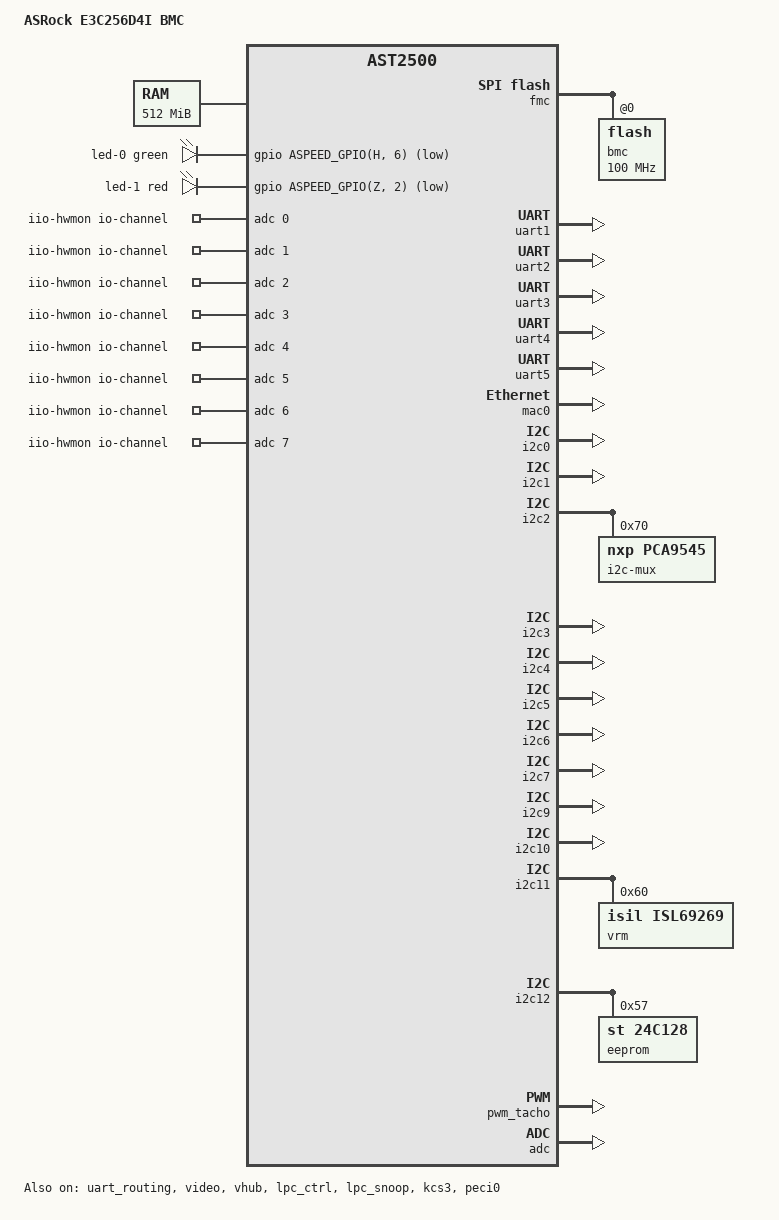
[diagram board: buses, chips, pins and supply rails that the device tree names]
// SPDX-License-Identifier: GPL-2.0+
/dts-v1/;

#include "aspeed-g5.dtsi"
#include <dt-bindings/gpio/aspeed-gpio.h>
#include <dt-bindings/i2c/i2c.h>
#include <dt-bindings/interrupt-controller/irq.h>
#include <dt-bindings/leds/common.h>
#include <dt-bindings/watchdog/aspeed-wdt.h>

/{
	model = "ASRock E3C256D4I BMC";
	compatible = "asrock,e3c256d4i-bmc", "aspeed,ast2500";

	aliases {
		serial4 = &uart5;

		i2c20 = &i2c2mux0ch0;
		i2c21 = &i2c2mux0ch1;
		i2c22 = &i2c2mux0ch2;
		i2c23 = &i2c2mux0ch3;
	};

	chosen {
		stdout-path = &uart5;
	};

	memory@80000000 {
		reg = <0x80000000 0x20000000>;
	};

	leds {
		compatible = "gpio-leds";

		/* BMC heartbeat */
		led-0 {
			gpios = <&gpio ASPEED_GPIO(H, 6) GPIO_ACTIVE_LOW>;
			function = LED_FUNCTION_HEARTBEAT;
			color = <LED_COLOR_ID_GREEN>;
			linux,default-trigger = "timer";
		};

		/* system fault */
		led-1 {
			gpios = <&gpio ASPEED_GPIO(Z, 2) GPIO_ACTIVE_LOW>;
			function = LED_FUNCTION_FAULT;
			color = <LED_COLOR_ID_RED>;
			panic-indicator;
		};
	};

	iio-hwmon {
		compatible = "iio-hwmon";
		io-channels = <&adc 0>, <&adc 1>, <&adc 2>, <&adc 3>,
			<&adc 4>, <&adc 5>, <&adc 6>, <&adc 7>,
			<&adc 8>, <&adc 9>, <&adc 10>, <&adc 11>,
			<&adc 12>, <&adc 13>, <&adc 14>, <&adc 15>;
	};
};

&fmc {
	status = "okay";
	flash@0 {
		status = "okay";
		m25p,fast-read;
		label = "bmc";
		spi-max-frequency = <100000000>; /* 100 MHz */
#include "openbmc-flash-layout-64.dtsi"
	};
};

&uart1 {
	status = "okay";
};

&uart2 {
	status = "okay";
};

&uart3 {
	status = "okay";
};

&uart4 {
	status = "okay";
};

&uart5 {
	status = "okay";
};

&uart_routing {
	status = "okay";
};

&mac0 {
	status = "okay";

	pinctrl-names = "default";
	pinctrl-0 = <&pinctrl_rgmii1_default &pinctrl_mdio1_default>;

	nvmem-cells = <&eth0_macaddress>;
	nvmem-cell-names = "mac-address";
};

&i2c0 {
	status = "okay";
};

&i2c1 {
	status = "okay";
};

&i2c2 {
	status = "okay";

	i2c-mux@70 {
		compatible = "nxp,pca9545";
		reg = <0x70>;
		#address-cells = <1>;
		#size-cells = <0>;

		i2c2mux0ch0: i2c@0 {
			#address-cells = <1>;
			#size-cells = <0>;
			reg = <0>;
		};

		i2c2mux0ch1: i2c@1 {
			#address-cells = <1>;
			#size-cells = <0>;
			reg = <1>;
		};

		i2c2mux0ch2: i2c@2 {
			#address-cells = <1>;
			#size-cells = <0>;
			reg = <2>;
		};

		i2c2mux0ch3: i2c@3 {
			#address-cells = <1>;
			#size-cells = <0>;
			reg = <3>;
		};
	};
};

&i2c3 {
	status = "okay";
};

&i2c4 {
	status = "okay";
};

&i2c5 {
	status = "okay";
};

&i2c6 {
	status = "okay";
};

&i2c7 {
	status = "okay";
};

&i2c9 {
	status = "okay";
};

&i2c10 {
	status = "okay";
};

&i2c11 {
	status = "okay";

	vrm@60 {
		compatible = "isil,isl69269";
		reg = <0x60>;
	};
};

&i2c12 {
	status = "okay";

	/* FRU eeprom */
	eeprom@57 {
		compatible = "st,24c128", "atmel,24c128";
		reg = <0x57>;
		pagesize = <16>;

		nvmem-layout {
			compatible = "fixed-layout";
			#address-cells = <1>;
			#size-cells = <1>;

			eth0_macaddress: macaddress@3f80 {
				reg = <0x3f80 6>;
			};
		};
	};
};

&video {
	status = "okay";
};

&vhub {
	status = "okay";
};

&lpc_ctrl {
	status = "okay";
};

&lpc_snoop {
	status = "okay";
	snoop-ports = <0x80>;
};

&kcs3 {
	status = "okay";
	aspeed,lpc-io-reg = <0xca2>;
};

&peci0 {
	status = "okay";
};

&wdt1 {
	aspeed,reset-mask = <(AST2500_WDT_RESET_DEFAULT & ~AST2500_WDT_RESET_LPC)>;
};

&wdt2 {
	aspeed,reset-mask = <(AST2500_WDT_RESET_DEFAULT & ~AST2500_WDT_RESET_LPC)>;
};

&pwm_tacho {
	status = "okay";
	pinctrl-names = "default";
	pinctrl-0 = <&pinctrl_pwm0_default /* CPU */
		&pinctrl_pwm2_default      /* rear */
		&pinctrl_pwm4_default>;    /* front */

	/* CPU */
	fan@0 {
		reg = <0x00>;
		aspeed,fan-tach-ch = /bits/ 8 <0x00>;
	};

	/* rear */
	fan@2 {
		reg = <0x02>;
		aspeed,fan-tach-ch = /bits/ 8 <0x02>;
	};

	/* front */
	fan@4 {
		reg = <0x04>;
		aspeed,fan-tach-ch = /bits/ 8 <0x04>;
	};
};

&gpio {
	status = "okay";
	gpio-line-names =
		/*  A */ "", "", "NMI_BTN_N", "BMC_NMI", "", "", "", "",
		/*  B */ "", "", "", "", "", "", "", "",
		/*  C */ "", "", "", "", "", "", "", "",
		/*  D */ "BMC_PSIN", "BMC_PSOUT", "BMC_RESETCON", "RESETCON",
			"", "", "", "",
		/*  E */ "", "", "", "", "", "", "", "",
		/*  F */ "LOCATORLED_STATUS_N", "LOCATORBTN", "", "",
			"", "", "BMC_PCH_SCI_LPC", "BMC_NCSI_MUX_CTL",
		/*  G */ "HWM_BAT_EN", "CHASSIS_ID0", "CHASSIS_ID1", "CHASSIS_ID2",
			"", "", "", "",
		/*  H */ "FM_ME_RCVR_N", "O_PWROK", "", "D4_DIMM_EVENT_3V_N",
			"MFG_MODE_N", "BMC_RTCRST", "BMC_HB_LED_N", "BMC_CASEOPEN",
		/*  I */ "", "", "", "", "", "", "", "",
		/*  J */ "BMC_READY", "BMC_PCH_BIOS_CS_N", "BMC_SMI", "", "", "", "", "",
		/*  K */ "", "", "", "", "", "", "", "",
		/*  L */ "", "", "", "", "", "", "", "",
		/*  M */ "", "", "", "", "", "", "", "",
		/*  N */ "", "", "", "", "", "", "", "",
		/*  O */ "", "", "", "", "", "", "", "",
		/*  P */ "", "", "", "", "", "", "", "",
		/*  Q */ "", "", "", "", "", "", "", "",
		/*  R */ "", "", "", "", "", "", "", "",
		/*  S */ "PCHHOT_BMC_N", "", "RSMRST", "", "", "", "", "",
		/*  T */ "", "", "", "", "", "", "", "",
		/*  U */ "", "", "", "", "", "", "", "",
		/*  V */ "", "", "", "", "", "", "", "",
		/*  W */ "", "", "", "", "", "", "", "",
		/*  X */ "", "", "", "", "", "", "", "",
		/*  Y */ "SLP_S3", "SLP_S5", "", "", "", "", "", "",
		/*  Z */ "CPU_CATERR_BMC_N", "", "SYSTEM_FAULT_LED_N", "BMC_THROTTLE_N",
			"", "", "", "",
		/* AA */ "CPU1_THERMTRIP_LATCH_N", "", "CPU1_PROCHOT_N", "",
			"", "", "IRQ_SMI_ACTIVE_N", "FM_BIOS_POST_CMPLT_N",
		/* AB */ "", "", "ME_OVERRIDE", "BMC_DMI_MODIFY", "", "", "", "",
		/* AC */ "", "", "", "", "", "", "", "";
};

&adc {
	status = "okay";
	pinctrl-names = "default";
	pinctrl-0 = <&pinctrl_adc0_default /* 3VSB */
		&pinctrl_adc1_default	   /* 5VSB */
		&pinctrl_adc2_default	   /* CPU1 */
		&pinctrl_adc3_default	   /* VCCSA */
		&pinctrl_adc4_default	   /* VCCM */
		&pinctrl_adc5_default	   /* V10M */
		&pinctrl_adc6_default	   /* VCCIO */
		&pinctrl_adc7_default	   /* VCCGT */
		&pinctrl_adc8_default	   /* VPPM */
		&pinctrl_adc9_default	   /* BAT */
		&pinctrl_adc10_default	   /* 3V */
		&pinctrl_adc11_default	   /* 5V */
		&pinctrl_adc12_default	   /* 12V */
		&pinctrl_adc13_default	   /* GND */
		&pinctrl_adc14_default	   /* GND */
		&pinctrl_adc15_default>;   /* GND */
};
